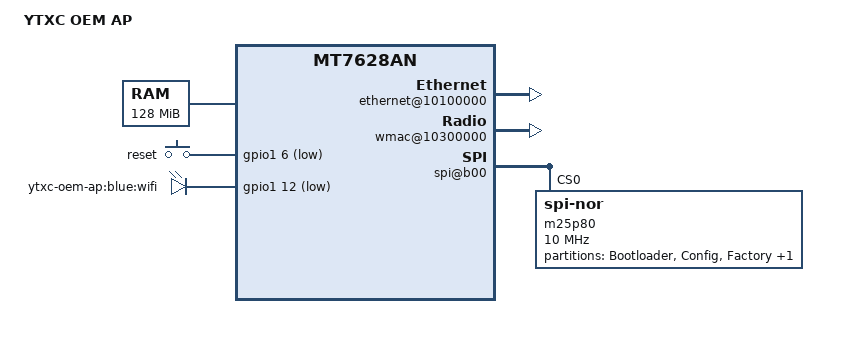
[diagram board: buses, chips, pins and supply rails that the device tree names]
/dts-v1/;

/include/ "mt7628an.dtsi"

/ {
	compatible = "taobao,ytxc-oem-ap", "mediatek,mt7628an-soc";
	model = "YTXC OEM AP";

	chosen {
		bootargs = "console=ttyS0,115200";
	};

	memory@0 {
		device_type = "memory";
		reg = <0x0 0x8000000>;
	};

	pinctrl {
		state_default: pinctrl0 {
			gpio {
				ralink,group = "gpio";
				ralink,function = "gpio";
			};
		};
	};

	gpio-keys-polled {
		compatible = "gpio-keys-polled";
		#address-cells = <1>;
		#size-cells = <0>;
		poll-interval = <20>;

		reset {
			label = "reset";
			gpios = <&gpio1 6 1>;
			linux,code = <0x198>;
		};
	};

	gpio-leds {
		compatible = "gpio-leds";

		wifi {
			label = "ytxc-oem-ap:blue:wifi";
			gpios = <&gpio1 12 1>;
		};
	};

	ethernet@10100000 {
		status = "okay";
		mtd-mac-address = <&factory 0x4>;
		mediatek,portmap = "llllw";
	};

	esw@10110000 {
		status = "okay";
		ralink,portmap = <0x2f>;
	};

	wmac@10300000 {
		status = "okay";
		ralink,mtd-eeprom = <&factory 0>;
	};

	palmbus@10000000 {
		spi@b00 {
			status = "okay";

			m25p80@0 {
				#address-cells = <1>;
				#size-cells = <1>;
				compatible = "jedec,spi-nor";
				reg = <0 0>;
				linux,modalias = "m25p80";
				spi-max-frequency = <10000000>;
				m25p,chunked-io = <32>;

				partition@0 {
					label = "Bootloader";
					reg = <0x0 0x30000>;
					read-only;
				};

				partition@30000 {
					label = "Config";
					reg = <0x30000 0x10000>;
					read-only;
				};

				factory: partition@40000 {
					label = "Factory";
					reg = <0x40000 0x10000>;
					read-only;
				};

				partition@50000 {
					label = "firmware";
					reg = <0x50000 0x7b0000>;
				};
			};
		};
	};
};
